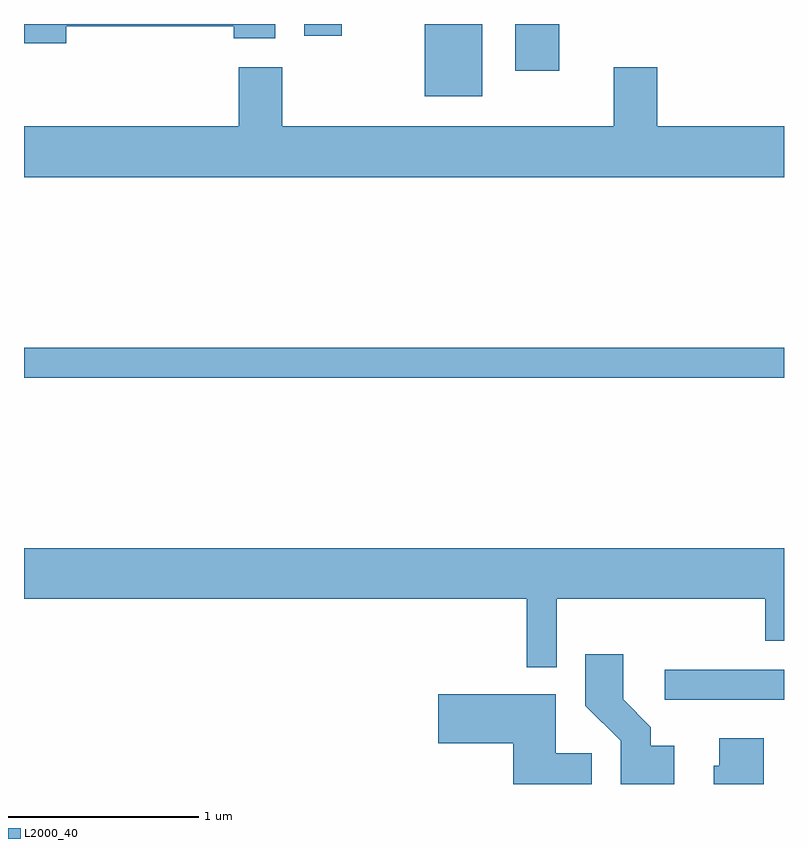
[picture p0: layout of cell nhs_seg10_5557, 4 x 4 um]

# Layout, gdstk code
import gdstk
lib = gdstk.Library(unit=1e-6, precision=1e-09)
def R(c, l, rs):  # rectangles x0, y0, x1, y1
    for r in rs: c.add(gdstk.rectangle(r[:2], r[2:], *l))
def P(c, l, *ps):  # polygons
    for p in ps: c.add(gdstk.Polygon(p, *l))
L2000_40 = (2000, 40)

nhs_seg10_5557 = lib.new_cell('nhs_seg10_5557')
R(nhs_seg10_5557, L2000_40, [(352.983,2088.966,353.611,2089.124), (349.611,2090.661,353.611,2090.819), (351.721,2092.141,352.024,2092.522), (352.196,2092.276,352.429,2092.522), (351.086,2092.461,351.284,2092.522)])
P(nhs_seg10_5557, L2000_40, [(349.834,2092.511),(350.716,2092.511),(350.716,2092.446),(350.934,2092.446),(350.934,2092.522),(349.611,2092.522),(349.611,2092.421),(349.834,2092.421)],
  [(353.611,2091.984),(352.944,2091.984),(352.944,2092.294),(352.716,2092.294),(352.716,2091.984),(350.969,2091.984),(350.969,2092.294),(350.741,2092.294),(350.741,2091.984),(349.611,2091.984),(349.611,2091.716),(353.611,2091.716)],
  [(352.414,2089.496),(353.511,2089.496),(353.511,2089.276),(353.611,2089.276),(353.611,2089.764),(349.611,2089.764),(349.611,2089.496),(352.256,2089.496),(352.256,2089.137),(352.414,2089.137)],
  [(353.034,2088.724),(352.909,2088.724),(352.909,2088.822),(352.764,2088.967),(352.764,2089.204),(352.566,2089.204),(352.566,2088.934),(352.751,2088.749),(352.751,2088.522),(353.034,2088.522)],
  [(352.599,2088.684),(352.409,2088.684),(352.409,2088.994),(351.791,2088.994),(351.791,2088.736),(352.186,2088.736),(352.186,2088.522),(352.599,2088.522)],
  [(353.504,2088.764),(353.271,2088.764),(353.271,2088.619),(353.241,2088.619),(353.241,2088.522),(353.504,2088.522)])

lib.write_gds('nhs_seg10_5557.gds')
